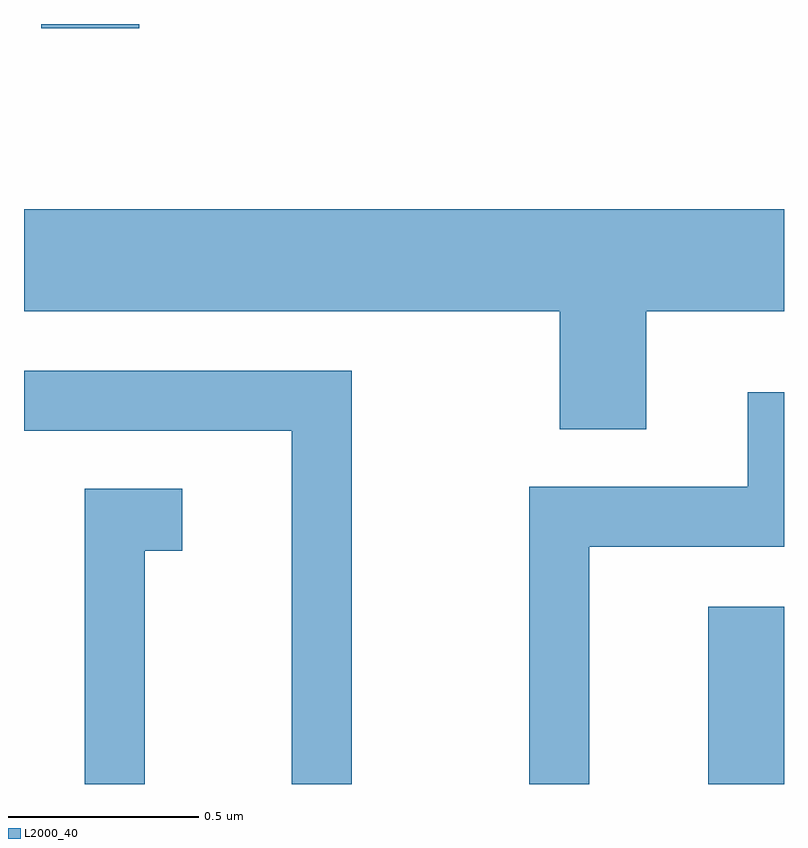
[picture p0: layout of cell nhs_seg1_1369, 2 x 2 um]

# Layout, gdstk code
import gdstk
lib = gdstk.Library(unit=1e-6, precision=1e-09)
def R(c, l, rs):  # rectangles x0, y0, x1, y1
    for r in rs: c.add(gdstk.rectangle(r[:2], r[2:], *l))
def P(c, l, *ps):  # polygons
    for p in ps: c.add(gdstk.Polygon(p, *l))
L2000_40 = (2000, 40)

nhs_seg1_1369 = lib.new_cell('nhs_seg1_1369')
R(nhs_seg1_1369, L2000_40, [(197.411,851.712,197.611,852.179), (195.656,853.701,195.914,853.712)])
P(nhs_seg1_1369, L2000_40, [(197.249,852.956),(197.611,852.956),(197.611,853.224),(195.611,853.224),(195.611,852.956),(197.021,852.956),(197.021,852.646),(197.249,852.646)],
  [(196.474,852.799),(195.611,852.799),(195.611,852.641),(196.316,852.641),(196.316,851.712),(196.474,851.712)],
  [(197.099,852.336),(197.611,852.336),(197.611,852.743),(197.516,852.743),(197.516,852.494),(196.941,852.494),(196.941,851.712),(197.099,851.712)],
  [(195.929,852.326),(196.028,852.326),(196.028,852.489),(195.771,852.489),(195.771,851.712),(195.929,851.712)])

lib.write_gds('nhs_seg1_1369.gds')
